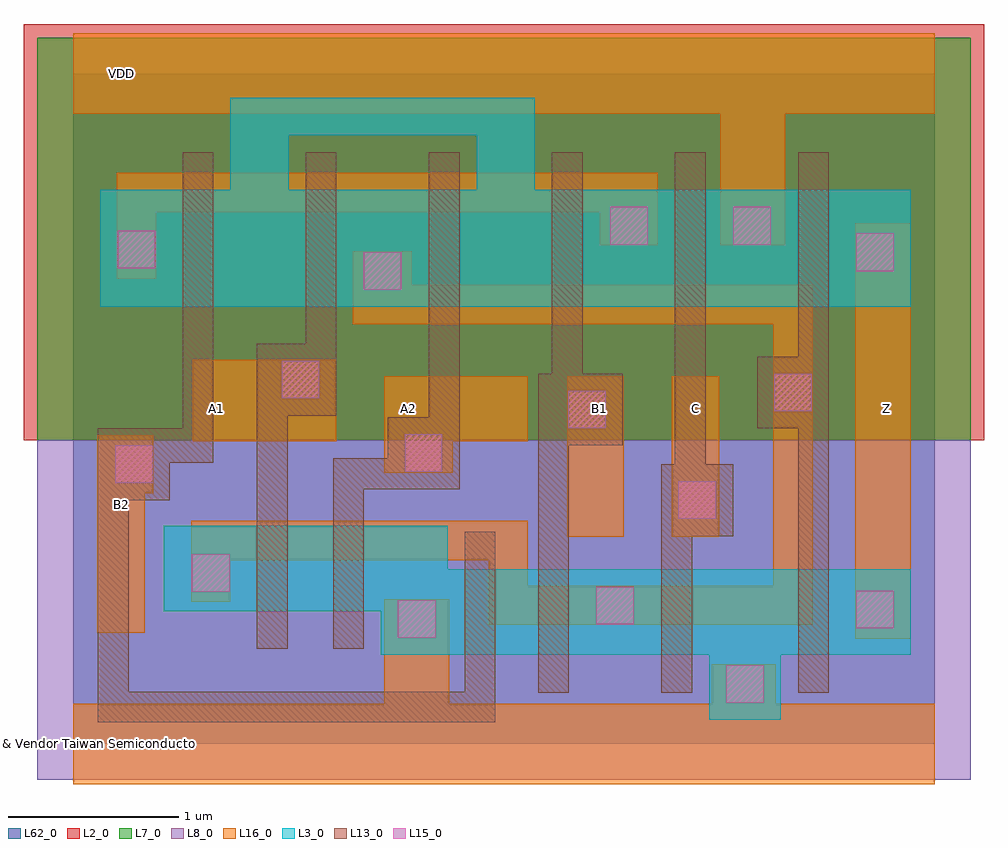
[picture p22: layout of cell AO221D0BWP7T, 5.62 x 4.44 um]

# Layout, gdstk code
import gdstk
lib = gdstk.Library(unit=1e-6, precision=1e-09)
def R(c, l, rs):  # rectangles x0, y0, x1, y1
    for r in rs: c.add(gdstk.rectangle(r[:2], r[2:], *l))
def P(c, l, *ps):  # polygons
    for p in ps: c.add(gdstk.Polygon(p, *l))
L2_0 = (2, 0)
L3_0 = (3, 0)
L7_0 = (7, 0)
L8_0 = (8, 0)
L13_0 = (13, 0)
L15_0 = (15, 0)
L16_0 = (16, 0)
L62_0 = (62, 0)

ao221d0bwp7t = lib.new_cell('AO221D0BWP7T')
R(ao221d0bwp7t, L2_0, [(-0.29,1.775,5.33,4.21)])
P(ao221d0bwp7t, L3_0, [(1.8,0.52),(1.8,0.775),(0.53,0.775),(0.53,1.275),(2.19,1.275),(2.19,1.02),(4.9,1.02),(4.9,0.52),(4.14,0.52),(4.14,0.14),(3.72,0.14),(3.72,0.52)],
  [(0.16,2.555),(0.16,3.24),(0.92,3.24),(0.92,3.78),(2.7,3.78),(2.7,3.4),(2.36,3.4),(2.36,3.56),(1.26,3.56),(1.26,3.24),(2.36,3.24),(2.36,3.4),(2.7,3.4),(2.7,3.24),(4.9,3.24),(4.9,2.555)])
R(ao221d0bwp7t, L7_0, [(-0.21,1.775,5.25,4.13)])
R(ao221d0bwp7t, L8_0, [(-0.21,-0.21,5.25,1.775)])
P(ao221d0bwp7t, L13_0, [(1.075,0.555),(1.075,2.34),(1.36,2.34),(1.36,3.46),(1.54,3.46),(1.54,1.92),(1.255,1.92),(1.255,0.555)],
  [(0.145,0.125),(0.145,1.845),(0.64,1.845),(0.64,3.46),(0.82,3.46),(0.82,1.645),(0.565,1.645),(0.565,1.425),(0.325,1.425),(0.325,0.305),(2.29,0.305),(2.29,1.24),(2.47,1.24),(2.47,0.125)],
  [(4.24,0.3),(4.24,1.845),(4,1.845),(4,2.265),(4.24,2.265),(4.24,3.46),(4.42,3.46),(4.42,0.3)],
  [(3.44,0.3),(3.44,1.635),(3.52,1.635),(3.52,3.46),(3.7,3.46),(3.7,1.635),(3.86,1.635),(3.86,1.215),(3.62,1.215),(3.62,0.3)],
  [(2.72,0.3),(2.72,2.165),(2.8,2.165),(2.8,3.46),(2.98,3.46),(2.98,2.165),(3.215,2.165),(3.215,1.745),(2.9,1.745),(2.9,0.3)],
  [(1.52,0.555),(1.52,1.67),(1.84,1.67),(1.84,1.91),(2.08,1.91),(2.08,3.46),(2.26,3.46),(2.26,1.49),(1.7,1.49),(1.7,0.555)])
R(ao221d0bwp7t, L15_0, [(3.82,0.24,4.04,0.46), (1.9,0.62,2.12,0.84), (4.58,0.675,4.8,0.895), (3.06,0.7,3.28,0.92), (0.695,0.89,0.915,1.11), (3.54,1.315,3.76,1.535), (0.245,1.525,0.465,1.745), (1.94,1.59,2.16,1.81), (2.895,1.845,3.115,2.065), (4.1,1.945,4.32,2.165), (1.22,2.02,1.44,2.24), (1.7,2.655,1.92,2.875), (4.58,2.765,4.8,2.985), (0.26,2.78,0.48,3), (3.14,2.92,3.36,3.14), (3.86,2.92,4.08,3.14)])
R(ao221d0bwp7t, L16_0, [(4.575,0.615,4.9,3.045), (2.89,1.21,3.22,2.15), (3.5,1.21,3.78,2.15), (0.7,1.77,1.54,2.245)])
P(ao221d0bwp7t, L16_0, [(0,-0.235),(0,0.235),(1.82,0.235),(1.82,0.845),(2.2,0.845),(2.2,0.235),(3.735,0.235),(3.735,0.465),(4.11,0.465),(4.11,0.235),(5.04,0.235),(5.04,-0.235)],
  [(3.785,2.915),(3.785,3.685),(0,3.685),(0,4.155),(5.04,4.155),(5.04,3.685),(4.165,3.685),(4.165,2.915)],
  [(0.255,2.72),(0.255,3.34),(3.42,3.34),(3.42,2.915),(3.08,2.915),(3.08,3.11),(0.485,3.11),(0.485,2.72)],
  [(0.14,0.65),(0.14,1.805),(0.47,1.805),(0.47,1.465),(0.42,1.465),(0.42,0.65)],
  [(0.69,0.83),(0.69,1.305),(2.66,1.305),(2.66,0.925),(4.095,0.925),(4.095,2.455),(1.635,2.455),(1.635,2.88),(1.98,2.88),(1.98,2.685),(4.325,2.685),(4.325,0.695),(2.43,0.695),(2.43,1.075),(0.92,1.075),(0.92,0.83)],
  [(1.82,1.585),(1.82,2.15),(2.66,2.15),(2.66,1.77),(2.22,1.77),(2.22,1.585)])
R(ao221d0bwp7t, L62_0, [(0,0,5.04,3.92)])
ao221d0bwp7t.add(gdstk.Label('& Vendor Taiwan Semiconductor Manufacturing Corp.', (0,0), layer=63, texttype=63))
ao221d0bwp7t.add(gdstk.Label('& Product tcb018gbwp7t', (0,0), layer=63, texttype=63))
ao221d0bwp7t.add(gdstk.Label('& Version 270a', (0,0), layer=63, texttype=63))
ao221d0bwp7t.add(gdstk.Label('& Metric 19.757', (0,0), layer=63, texttype=63))
ao221d0bwp7t.add(gdstk.Label('& Distributor TSMC', (0,0), layer=63, texttype=63))
ao221d0bwp7t.add(gdstk.Label('& SerialNumber 000000', (0,0), layer=63, texttype=63))
ao221d0bwp7t.add(gdstk.Label('& _Instance_tag AO221D0BWP7T', (0,0), layer=63, texttype=63))
ao221d0bwp7t.add(gdstk.Label('& Vendor Taiwan Semiconductor Manufacturing Corp.', (0,0), layer=11, texttype=0))
ao221d0bwp7t.add(gdstk.Label('& Product tcb018gbwp7t', (0,0), layer=11, texttype=0))
ao221d0bwp7t.add(gdstk.Label('& Version 270a', (0,0), layer=11, texttype=0))
ao221d0bwp7t.add(gdstk.Label('& Metric 19.757', (0,0), layer=11, texttype=0))
ao221d0bwp7t.add(gdstk.Label('& Distributor TSMC', (0,0), layer=11, texttype=0))
ao221d0bwp7t.add(gdstk.Label('& SerialNumber 000000', (0,0), layer=11, texttype=0))
ao221d0bwp7t.add(gdstk.Label('& _Instance_tag AO221D0BWP7T', (0,0), layer=11, texttype=0))
ao221d0bwp7t.add(gdstk.Label('AO221D0BWP7T', (0,0), layer=59, texttype=0))
ao221d0bwp7t.add(gdstk.Label('Z', (4.76,1.96), layer=40, texttype=0))
ao221d0bwp7t.add(gdstk.Label('C', (3.64,1.96), layer=40, texttype=0))
ao221d0bwp7t.add(gdstk.Label('B1', (3.08,1.96), layer=40, texttype=0))
ao221d0bwp7t.add(gdstk.Label('A2', (1.96,1.96), layer=40, texttype=0))
ao221d0bwp7t.add(gdstk.Label('A1', (0.84,1.96), layer=40, texttype=0))
ao221d0bwp7t.add(gdstk.Label('VDD', (0.28,3.92), layer=40, texttype=0))
ao221d0bwp7t.add(gdstk.Label('B2', (0.28,1.4), layer=40, texttype=0))
ao221d0bwp7t.add(gdstk.Label('VSS', (0.28,0), layer=40, texttype=0))

lib.write_gds('AO221D0BWP7T.gds')
